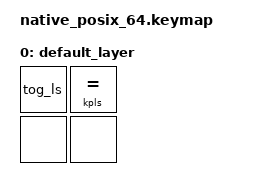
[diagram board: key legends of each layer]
#include <dt-bindings/zmk/keys.h>
#include <behaviors.dtsi>
#include <dt-bindings/zmk/kscan_mock.h>
#include <layout_shift.dtsi>

&tog_ls { layout-maps = <&layout_shift_map_us_to_jis &layout_shift_map_dvorak>; };

/* Equal priorities -> fall back to declaration order (jis first, then dvorak).
 * EQUAL: jis EQUAL->UNDERSCORE=LS(MINUS); dvorak MINUS->LEFT_BRACKET keeping
 * shift -> LS(LEFT_BRACKET) = 0x2F + implicit shift. */
&layout_shift_map_us_to_jis    { priority = <10>; };
&layout_shift_map_dvorak { priority = <10>; };

&kscan {
    events = <
        ZMK_MOCK_PRESS(0,0,10)
        ZMK_MOCK_RELEASE(0,0,10)
        ZMK_MOCK_PRESS(0,1,10)
        ZMK_MOCK_RELEASE(0,1,10)
    >;
};

/ {
    keymap {
        compatible = "zmk,keymap";

        default_layer {
            bindings = <
                &tog_ls &kpls EQUAL
                &none   &none
            >;
        };
    };
};
